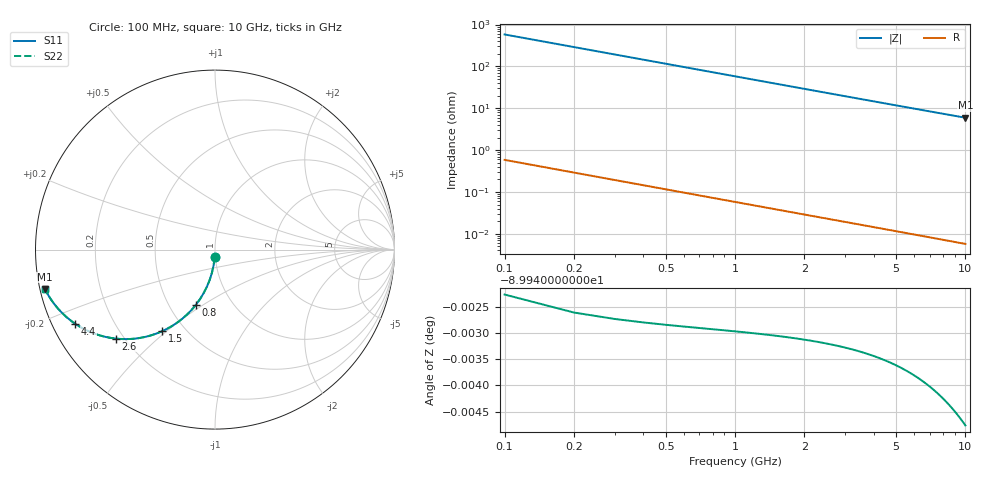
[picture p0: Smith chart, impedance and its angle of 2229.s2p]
# Hz S RI R 50.00
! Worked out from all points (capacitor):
!   100 points, 100 MHz to 10 GHz, reference 50 ohm
!   read as one part in shunt: C = 2.74 pF near 100 MHz
!   lowest |Z| = 5.95 ohm at 10 GHz (marker M1)
!   S11 on the Smith chart (normalised r, x): 100 MHz: 0.99, -0.09; 800 MHz: 0.68, -0.47; 1.5 GHz: 0.38, -0.48; 2.6 GHz: 0.17, -0.37; 4.4 GHz: 0.07, -0.25; 10 GHz: 0.01, -0.11
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1e8  -0.00189 -0.043  0.9981 -0.043  0.9981 -0.043  -0.00189 -0.043
2e8  -0.00744 -0.0854  0.9925 -0.0856  0.9925 -0.0856  -0.00744 -0.0854
3e8  -0.0165 -0.1269  0.9835 -0.1271  0.9835 -0.1271  -0.0165 -0.1269
4e8  -0.029 -0.1671  0.971 -0.1674  0.971 -0.1674  -0.029 -0.1671
5e8  -0.0445 -0.2055  0.9555 -0.2058  0.9555 -0.2058  -0.0445 -0.2055
6e8  -0.0627 -0.2418  0.9372 -0.2422  0.9372 -0.2422  -0.0627 -0.2418
8e8  -0.1062 -0.3073  0.8938 -0.3079  0.8938 -0.3079  -0.1062 -0.3073
9e8  -0.1307 -0.3362  0.8693 -0.3368  0.8693 -0.3368  -0.1307 -0.3362
1.1e9  -0.1832 -0.3859  0.8168 -0.3867  0.8168 -0.3867  -0.1832 -0.3859
1.3e9  -0.2383 -0.4251  0.7617 -0.426  0.7617 -0.426  -0.2383 -0.4251
1.5e9  -0.2938 -0.4545  0.7062 -0.4555  0.7062 -0.4555  -0.2938 -0.4545
1.8e9  -0.3743 -0.4828  0.6257 -0.484  0.6257 -0.484  -0.3743 -0.4828
2.2e9  -0.4714 -0.4979  0.5286 -0.4994  0.5286 -0.4994  -0.4714 -0.4979
2.6e9  -0.5542 -0.4957  0.4457 -0.4974  0.4457 -0.4974  -0.5542 -0.4957
3e9  -0.623 -0.4831  0.377 -0.4851  0.377 -0.4851  -0.623 -0.4831
3.4e9  -0.6794 -0.4651  0.3206 -0.4674  0.3206 -0.4674  -0.6794 -0.4651
3.9e9  -0.7357 -0.4392  0.2643 -0.4418  0.2643 -0.4418  -0.7357 -0.4392
4.4e9  -0.7795 -0.4126  0.2204 -0.4155  0.2204 -0.4155  -0.7795 -0.4126
5.1e9  -0.8258 -0.377  0.1742 -0.3805  0.1742 -0.3805  -0.8258 -0.377
6.7e9  -0.8908 -0.3091  0.1092 -0.3137  0.1092 -0.3137  -0.8908 -0.3091
8.4e9  -0.9275 -0.2559  0.0725 -0.2617  0.0725 -0.2617  -0.9275 -0.2559
1e10  -0.9477 -0.2187  0.0523 -0.2256  0.0523 -0.2256  -0.9477 -0.2187
